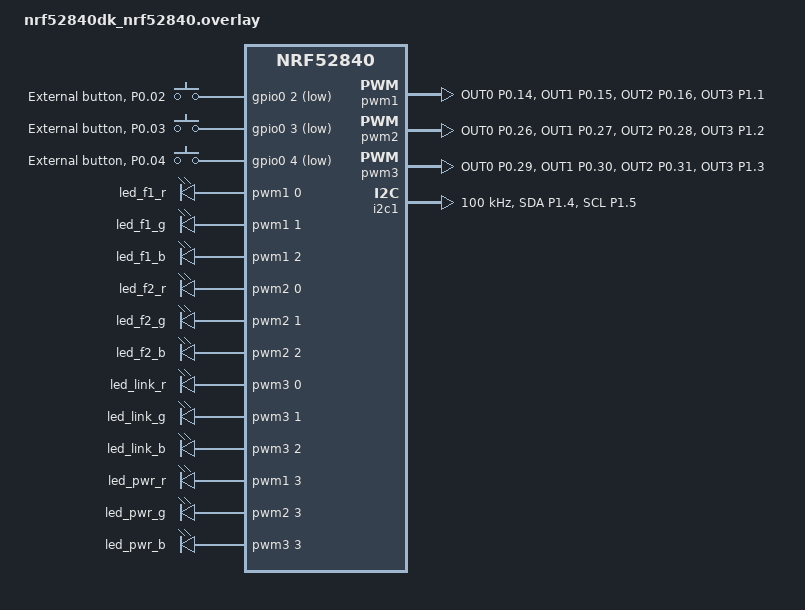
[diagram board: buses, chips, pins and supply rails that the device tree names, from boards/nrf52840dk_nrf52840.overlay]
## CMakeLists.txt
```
cmake_minimum_required(VERSION 3.20.0)
find_package(Zephyr REQUIRED HINTS $ENV{ZEPHYR_BASE})
project(remote)

# Same binding decision as dongle/CMakeLists.txt, same reasoning: identity is
# baked in at build time by dongle/tools/provision.py, no default to fall
# back to. PLAN.md §4, 2026-08-12.
if(NOT CONFIG_PROVISIONING_HEADER_DIR)
  message(FATAL_ERROR
    "CONFIG_PROVISIONING_HEADER_DIR not set. Generate one with dongle/tools/"
    "provision.py and pass -DCONFIG_PROVISIONING_HEADER_DIR=<dir containing "
    "provisioning_data.h>. See remote/BUILD_SPEC.md §9.")
endif()
if(NOT EXISTS "${CONFIG_PROVISIONING_HEADER_DIR}/provisioning_data.h")
  message(FATAL_ERROR "No provisioning_data.h in ${CONFIG_PROVISIONING_HEADER_DIR}")
endif()
target_include_directories(app PRIVATE ${CONFIG_PROVISIONING_HEADER_DIR})

target_sources(app PRIVATE
  src/main.c
  src/link.c
  src/buttons.c
  src/haptic.c
  src/indicators.c
  src/drv2605.c
  ../common/provisioning.c
  ../common/rframe.c
  ../common/ind_colour.c
)

# DRV2605L breadboard bring-up (bench-only) -- see remote/Kconfig.
target_sources_ifdef(CONFIG_REMOTE_DRV2605_CAL_TEST app PRIVATE src/drv2605_cal_test.c)

# remote/BUILD_SPEC.md §3: common/ is shared with the dongle by CMake source
# reference, not by copying — one codec, compiled into both firmwares and
# into the host suite.
target_include_directories(app PRIVATE ${CMAKE_CURRENT_SOURCE_DIR}/../common)

# ../common/rframe.h reuses protocol.h's button/gesture/remote/waveform/
# indicator enums as its own vocabulary (dongle/CMakeLists.txt does the same
# for the identical reason). protocol.c itself is never linked here — only
# the enum declarations are needed, never the WP v3.0 line assembler.
target_include_directories(app PRIVATE ${CMAKE_CURRENT_SOURCE_DIR}/../dongle/src)
```

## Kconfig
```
menu "Remote options"

config PROVISIONING_HEADER_DIR
	string "Directory containing this unit's generated provisioning_data.h"
	help
	  Generated by dongle/tools/provision.py — PLAN.md §4's binding
	  decision, 2026-08-12: identity is baked into the image at build
	  time, not read from a flash partition written by a separate step.
	  Same reasoning as dongle/Kconfig's identical option: this has to be
	  a Kconfig string, not a plain CMake -D variable, because west build
	  runs under sysbuild and only CONFIG_-prefixed values forward into
	  this image's cache automatically from a bare -D.

	  No default. CMakeLists.txt FATAL_ERRORs at configure time if this
	  is empty or the file isn't there.

config REMOTE_DRV2605_CAL_TEST
	bool "Run a DRV2605L auto-calibration smoke test at boot (bench only)"
	default n
	help
	  Breadboard bring-up for the DRV2605L haptic driver IC on i2c1 (P1.04
	  SDA / P1.05 SCL — remote/boards/nrf52840dk_nrf52840.overlay). Runs
	  drv2605_cal_test_run() before anything else in main(), independent
	  of provisioning/BLE — a bare hardware smoke test that exercises
	  drv2605.c's real driver (drv2605_calibrate()) without needing the
	  dongle, BLE, or the factory link protocol working first, and prints
	  the result and the three per-unit register values (A_CAL_COMP,
	  A_CAL_BEMF, the calibrated FEEDBACK_CONTROL byte) over RTT. Not
	  linked into an ordinary build; src/haptic.c's PWM back end is still
	  what the product path uses until a driver IC decision is made
	  (BUILD_SPEC.md §13).

config REMOTE_HAPTIC_PROXY_LED
	bool "Render haptics on pwm_led0 instead of the DRV2605L"
	default y
	help
	  y: haptic.c's original stand-in -- brightness on LED1/pwm_led0
	  proxies for amplitude, on a board with no motor at all
	  (BUILD_SPEC.md S13). n: render real library effects on the
	  DRV2605L via i2c1 (drv2605_play_sequence()) -- the actual product
	  haptic path. Defaults y so an ordinary DK build needs no module
	  wired up; set n once the DRV2605L breadboard bring-up
	  (CONFIG_REMOTE_DRV2605_CAL_TEST) has already proven the I2C link.

config REMOTE_SYNTHETIC_VDD_MV
	int "drv2605_read_vdd_mv() placeholder, millivolts (no PMIC on the DK)"
	default 3300
	help
	  There is no nPM1300 on the DK to read a real DRV2605L VDD/VIN
	  voltage from (PLAN.md S17/S18 is where a real fuel gauge arrives).
	  drv2605.c returns this fixed value instead — same convention as
	  link.c's SYNTHETIC_BATTERY_PCT: obviously synthetic rather than a
	  plausible, drifting one.

	  Deliberately defaults BELOW the DRV2605L's 4.0-4.4V OTP-programming
	  window, so drv2605_burn_otp() correctly refuses on every ordinary
	  DK build — there is no real battery here to safely burn OTP
	  against, and refusing is correct, not an inconvenience. Only raise
	  this into the 4.0-4.4V range for a deliberate, supervised bench
	  test of the OTP path itself, on a build nobody mistakes for
	  representative of a real unit's supply.

config REMOTE_TEST_RADIO_PROTO_MAJOR
	int "RR_IDENTITY radio_proto_major to report (bench test only)"
	default 2
	help
	  A14 (RADIO_PROTOCOL.md §14): radio_proto_major has no provisioning-
	  record representation — RP §3.2 fixes it at 2 for this revision
	  (bumped from 1 when DN_INDICATOR's colour field changed shape, RP
	  §16) — so there is no wrong-header way to build the A14 negative
	  case the way A12/A13/A19 are built. This is the one deliberate
	  exception: a bench-only override, defaulting to the real value so
	  an ordinary build is unaffected, set to anything else only for the
	  one negative-case build (PLAN.md queue step S2/S3).

endmenu

source "Kconfig.zephyr"
```

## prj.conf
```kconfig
# ---------------------------------------------------------------------------
# Application
# ---------------------------------------------------------------------------
CONFIG_GPIO=y
CONFIG_PWM=y
CONFIG_I2C=y
CONFIG_MAIN_STACK_SIZE=2048
CONFIG_SYSTEM_WORKQUEUE_STACK_SIZE=2048

# ---------------------------------------------------------------------------
# BLE — remote/BUILD_SPEC.md §5-§10. Peripheral, GATT server, one connection.
#
# No settings backend, same reasoning as the dongle: RP §10.3 stores nothing
# to erase, migrate or corrupt. The LTK comes from PROV_RECORD.set_key
# (provisioning_data.h, baked in at build time — PLAN.md §4, 2026-08-12)
# every boot via bt_nrf_conn_set_ltk(), never through Zephyr's bonding path.
# ---------------------------------------------------------------------------
CONFIG_BT=y
CONFIG_BT_PERIPHERAL=y
CONFIG_BT_SMP=y
CONFIG_BT_NRF_CONN_SET_LTK=y
CONFIG_BT_MAX_CONN=1
CONFIG_BT_MAX_PAIRED=1
CONFIG_BT_BONDABLE=n
CONFIG_BT_PRIVACY=n
CONFIG_BT_SETTINGS=n
CONFIG_BT_DEVICE_NAME="RefRemote"
CONFIG_BT_FILTER_ACCEPT_LIST=y
```

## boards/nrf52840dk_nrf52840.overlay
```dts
/*
 * The three buttons remote/BUILD_SPEC.md §2 always deferred to real GPIO
 * (originally REMOVE_POINT/BACKWARD/F2; the M5 harness reassigns which
 * physical button carries which PROTO_BTN_* — see buttons.c). Bench-wired
 * per PLAN.md S13/S14: P0.02/P0.03/P0.04, external momentary switch to GND,
 * relying on the SoC's internal pull — same GPIO_ACTIVE_LOW | GPIO_PULL_UP
 * convention the stock DK buttons already use, so there is nothing different
 * about these three at the devicetree level, only at the wiring level.
 *
 * A second, separate "gpio-keys" node rather than extending the board's own
 * /buttons: that node has no label to reference from an overlay, and
 * buttons.c reads these through DT_ALIAS() + GPIO_DT_SPEC_GET() directly, so
 * nothing requires the extra buttons to live in the same node as button0..3.
 */
#include <zephyr/dt-bindings/gpio/gpio.h>
#include <zephyr/dt-bindings/pinctrl/nrf-pinctrl.h>
#include <zephyr/dt-bindings/pwm/pwm.h>
#include <zephyr/dt-bindings/i2c/i2c.h>

/ {
	remote_ext_buttons: remote-ext-buttons {
		compatible = "gpio-keys";

		ext_button_0: ext_button_0 {
			gpios = <&gpio0 2 (GPIO_ACTIVE_LOW | GPIO_PULL_UP)>;
			label = "External button, P0.02";
		};

		ext_button_1: ext_button_1 {
			gpios = <&gpio0 3 (GPIO_ACTIVE_LOW | GPIO_PULL_UP)>;
			label = "External button, P0.03";
		};

		ext_button_2: ext_button_2 {
			gpios = <&gpio0 4 (GPIO_ACTIVE_LOW | GPIO_PULL_UP)>;
			label = "External button, P0.04";
		};
	};

	/*
	 * Real RGB indicators (PLAN.md S13/S14), replacing the mode-only mono
	 * LEDs indicators.c used since M2. Wiring throughout is common anode
	 * (bench-confirmed by diode test) — anode to VDD off-board, each
	 * cathode through its own series resistor to a GPIO the GPIO sinks —
	 * so every channel here needs the same active-low PWM setup Nordic's
	 * own board file already uses for pwm_led0 on P0.13: `nordic,invert`
	 * on the pinctrl group *and* PWM_POLARITY_INVERTED on the pwms cell.
	 * That combination is already proven on this exact board (haptic.c's
	 * proxy), so it is copied rather than re-derived.
	 *
	 * One indicator's three channels do not share a PWM instance — PWM1/2/3
	 * each carry one full RGB indicator on channels 0-2, with channel 3
	 * spare. LED_PWR's three channels are parked one to a spare channel
	 * on each instance instead of claiming a fourth PWM peripheral. Pin
	 * choice matches the reasoning already given: P0.14-16 free up because
	 * this replaces what they used to render; P0.26-31 were never claimed;
	 * P1.01-03 are the DK's near-radio-restricted bank (Nordic docs: PWM is
	 * not low-frequency I/O), parked on LED_PWR since it's not on the
	 * DN_INDICATOR colour-accuracy path being validated first.
	 */
	rgb_leds: rgb-leds {
		compatible = "pwm-leds";

		led_f1_r: led_f1_r { pwms = <&pwm1 0 PWM_MSEC(20) PWM_POLARITY_INVERTED>; };
		led_f1_g: led_f1_g { pwms = <&pwm1 1 PWM_MSEC(20) PWM_POLARITY_INVERTED>; };
		led_f1_b: led_f1_b { pwms = <&pwm1 2 PWM_MSEC(20) PWM_POLARITY_INVERTED>; };

		led_f2_r: led_f2_r { pwms = <&pwm2 0 PWM_MSEC(20) PWM_POLARITY_INVERTED>; };
		led_f2_g: led_f2_g { pwms = <&pwm2 1 PWM_MSEC(20) PWM_POLARITY_INVERTED>; };
		led_f2_b: led_f2_b { pwms = <&pwm2 2 PWM_MSEC(20) PWM_POLARITY_INVERTED>; };

		led_link_r: led_link_r { pwms = <&pwm3 0 PWM_MSEC(20) PWM_POLARITY_INVERTED>; };
		led_link_g: led_link_g { pwms = <&pwm3 1 PWM_MSEC(20) PWM_POLARITY_INVERTED>; };
		led_link_b: led_link_b { pwms = <&pwm3 2 PWM_MSEC(20) PWM_POLARITY_INVERTED>; };

		led_pwr_r: led_pwr_r { pwms = <&pwm1 3 PWM_MSEC(20) PWM_POLARITY_INVERTED>; };
		led_pwr_g: led_pwr_g { pwms = <&pwm2 3 PWM_MSEC(20) PWM_POLARITY_INVERTED>; };
		led_pwr_b: led_pwr_b { pwms = <&pwm3 3 PWM_MSEC(20) PWM_POLARITY_INVERTED>; };
	};

	aliases {
		sw4 = &ext_button_0;
		sw5 = &ext_button_1;
		sw6 = &ext_button_2;

		/* Swapped vs the led_f1_r/g/b and led_f2_r/g/b node names: F1's
		 * protocol colour now renders on the P0.26-28/pwm2 physical LED
		 * and F2's on P0.14-16/pwm1 — indicators.c and BUILD_SPEC.md's
		 * hardware map both go by these aliases, not the node names,
		 * so this is the one place the swap has to happen. */
		f1r = &led_f2_r;
		f1g = &led_f2_g;
		f1b = &led_f2_b;
		f2r = &led_f1_r;
		f2g = &led_f1_g;
		f2b = &led_f1_b;
		linkr = &led_link_r;
		linkg = &led_link_g;
		linkb = &led_link_b;
		pwrr = &led_pwr_r;
		pwrg = &led_pwr_g;
		pwrb = &led_pwr_b;
	};
};

&pinctrl {
	pwm1_default: pwm1_default {
		group1 {
			psels = <NRF_PSEL(PWM_OUT0, 0, 14)>,
				<NRF_PSEL(PWM_OUT1, 0, 15)>,
				<NRF_PSEL(PWM_OUT2, 0, 16)>,
				<NRF_PSEL(PWM_OUT3, 1, 1)>;
			nordic,invert;
		};
	};
	pwm1_sleep: pwm1_sleep {
		group1 {
			psels = <NRF_PSEL(PWM_OUT0, 0, 14)>,
				<NRF_PSEL(PWM_OUT1, 0, 15)>,
				<NRF_PSEL(PWM_OUT2, 0, 16)>,
				<NRF_PSEL(PWM_OUT3, 1, 1)>;
			low-power-enable;
		};
	};

	pwm2_default: pwm2_default {
		group1 {
			psels = <NRF_PSEL(PWM_OUT0, 0, 26)>,
				<NRF_PSEL(PWM_OUT1, 0, 27)>,
				<NRF_PSEL(PWM_OUT2, 0, 28)>,
				<NRF_PSEL(PWM_OUT3, 1, 2)>;
			nordic,invert;
		};
	};
	pwm2_sleep: pwm2_sleep {
		group1 {
			psels = <NRF_PSEL(PWM_OUT0, 0, 26)>,
				<NRF_PSEL(PWM_OUT1, 0, 27)>,
				<NRF_PSEL(PWM_OUT2, 0, 28)>,
				<NRF_PSEL(PWM_OUT3, 1, 2)>;
			low-power-enable;
		};
	};

	pwm3_default: pwm3_default {
		group1 {
			psels = <NRF_PSEL(PWM_OUT0, 0, 29)>,
				<NRF_PSEL(PWM_OUT1, 0, 30)>,
				<NRF_PSEL(PWM_OUT2, 0, 31)>,
				<NRF_PSEL(PWM_OUT3, 1, 3)>;
			nordic,invert;
		};
	};
	pwm3_sleep: pwm3_sleep {
		group1 {
			psels = <NRF_PSEL(PWM_OUT0, 0, 29)>,
				<NRF_PSEL(PWM_OUT1, 0, 30)>,
				<NRF_PSEL(PWM_OUT2, 0, 31)>,
				<NRF_PSEL(PWM_OUT3, 1, 3)>;
			low-power-enable;
		};
	};
};

&pwm1 {
	status = "okay";
	pinctrl-0 = <&pwm1_default>;
	pinctrl-1 = <&pwm1_sleep>;
	pinctrl-names = "default", "sleep";
};

&pwm2 {
	status = "okay";
	pinctrl-0 = <&pwm2_default>;
	pinctrl-1 = <&pwm2_sleep>;
	pinctrl-names = "default", "sleep";
};

&pwm3 {
	status = "okay";
	pinctrl-0 = <&pwm3_default>;
	pinctrl-1 = <&pwm3_sleep>;
	pinctrl-names = "default", "sleep";
};

/*
 * DRV2605L breadboard bring-up (PLAN.md haptic driver work). i2c1 shares
 * silicon with spi1/uart1 (both unused here) so claiming it is free. P1.04/
 * P1.05 rather than the board's own arduino_i2c (P0.26/P0.27, i2c0) because
 * those two pins already carry LED_F1's R/G channels (§2 of BUILD_SPEC.md) —
 * every P0 pin is spoken for, and P1.00-P1.09 is the only bank with anything
 * left (P1.01-P1.03 go to LED_PWR). Reusing the i2c1_default/i2c1_sleep
 * labels overrides the board file's own pins for that node rather than
 * defining a parallel one, matching how pwm1-3 above already work.
 */
&pinctrl {
	i2c1_default: i2c1_default {
		group1 {
			psels = <NRF_PSEL(TWIM_SDA, 1, 4)>,
				<NRF_PSEL(TWIM_SCL, 1, 5)>;
		};
	};
	i2c1_sleep: i2c1_sleep {
		group1 {
			psels = <NRF_PSEL(TWIM_SDA, 1, 4)>,
				<NRF_PSEL(TWIM_SCL, 1, 5)>;
			low-power-enable;
		};
	};
};

&i2c1 {
	status = "okay";
	pinctrl-0 = <&i2c1_default>;
	pinctrl-1 = <&i2c1_sleep>;
	pinctrl-names = "default", "sleep";
	clock-frequency = <I2C_BITRATE_STANDARD>;
};
```

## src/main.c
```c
/*
 * DK remote firmware — an nRF52840 DK standing in for a wrist remote that
 * does not exist yet. remote/BUILD_SPEC.md is the implementable contract;
 * RADIO_PROTOCOL.md is the wire contract it answers to.
 */
#include "provisioning_data.h" /* generated by dongle/tools/provision.py; see CMakeLists.txt */
#include "link.h"
#include "buttons.h"
#include "haptic.h"
#include "indicators.h"
#include "drv2605.h"

#ifdef CONFIG_REMOTE_DRV2605_CAL_TEST
#include "drv2605_cal_test.h"
#endif

#include <zephyr/kernel.h>
#include <zephyr/drivers/gpio.h>

#define REMOTE_STACK_SIZE 2048
#define REMOTE_PRIORITY   K_PRIO_COOP(7)

static struct k_work_q remote_q;
static K_THREAD_STACK_DEFINE(remote_stack, REMOTE_STACK_SIZE);

/*
 * A19: an unprovisioned unit does not advertise, does not initiate, and
 * renders an unmistakable fault. There is no radio link yet to report a
 * reason over, so this blinks all four LEDs together — no console, no CDC-
 * ACM instance to spare on this board either (remote/BUILD_SPEC.md §10: RTT
 * is free here, but that is for a human plugged into the debugger, not for
 * an operator glancing at hardware on a bench).
 */
static void fault_forever(void)
{
	static const struct gpio_dt_spec leds[] = {
		GPIO_DT_SPEC_GET(DT_ALIAS(led0), gpios),
		GPIO_DT_SPEC_GET(DT_ALIAS(led1), gpios),
		GPIO_DT_SPEC_GET(DT_ALIAS(led2), gpios),
		GPIO_DT_SPEC_GET(DT_ALIAS(led3), gpios),
	};

	for (size_t i = 0; i < ARRAY_SIZE(leds); i++) {
		if (gpio_is_ready_dt(&leds[i])) {
			(void)gpio_pin_configure_dt(&leds[i], GPIO_OUTPUT_INACTIVE);
		}
	}

	while (1) {
		for (size_t i = 0; i < ARRAY_SIZE(leds); i++) {
			(void)gpio_pin_set_dt(&leds[i], 1);
		}
		k_sleep(K_MSEC(200));
		for (size_t i = 0; i < ARRAY_SIZE(leds); i++) {
			(void)gpio_pin_set_dt(&leds[i], 0);
		}
		k_sleep(K_MSEC(200));
	}
}

int main(void)
{
#ifdef CONFIG_REMOTE_DRV2605_CAL_TEST
	/* Bench-only, independent of provisioning/BLE -- see remote/Kconfig.
	 * Runs once at boot and returns; the rest of main() is unaffected. */
	drv2605_cal_test_run();
#endif

	/* Boot-time sentinel, belt and braces alongside CMakeLists.txt's
	 * build-time refusal to configure without a provisioning_data.h at
	 * all — same reasoning as dongle/src/engine.c. */
	enum provisioning_status st = provisioning_validate(&PROV_RECORD);

	if (st != PROVISIONING_OK ||
	    (PROV_RECORD.role != PROVISIONING_ROLE_RED &&
	     PROV_RECORD.role != PROVISIONING_ROLE_GREEN)) {
		fault_forever();
		return 0; /* unreached */
	}

	k_work_queue_init(&remote_q);
	k_work_queue_start(&remote_q, remote_stack, K_THREAD_STACK_SIZEOF(remote_stack),
			   REMOTE_PRIORITY, NULL);

	/*
	 * Not fatal on failure -- haptic.c's PWM proxy is still the product
	 * haptic path (BUILD_SPEC.md §13); the DRV2605L only backs the
	 * factory calibration/OTP commands link.c dispatches
	 * (RFRAME_DN_CAL_TRIGGER/DN_OTP_BURN). A board with nothing wired
	 * to i2c1 just leaves those permanently unable to succeed --
	 * drv2605_otp_status() failing is already treated as "refuse" at
	 * the call site in link.c, the same fail-closed rule as everywhere
	 * else on this wire.
	 */
	(void)drv2605_init();

	if (haptic_init(&remote_q) != 0) {
		fault_forever();
		return 0;
	}
	if (indicators_init(&remote_q) != 0) {
		fault_forever();
		return 0;
	}
	if (link_init(&PROV_RECORD, &remote_q) != 0) {
		fault_forever();
		return 0;
	}
	if (buttons_init(link_on_gesture, &remote_q) != 0) {
		fault_forever();
		return 0;
	}

	return 0;
}
```

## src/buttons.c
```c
#include "buttons.h"

#include <zephyr/kernel.h>
#include <zephyr/drivers/gpio.h>

/* remote/BUILD_SPEC.md §4: fixed in firmware, not configurable anywhere. */
#define DEBOUNCE_MS      15
#define HOLD_THRESHOLD_MS 600
#define HOLD_REPEAT_MS   150

/* §2: gesture and semantic coverage, not button coverage. */
struct button_def {
	const struct gpio_dt_spec spec;
	enum proto_button button;
	bool repeating;   /* HOLD_REP only for FORWARD/BACKWARD */
};

/*
 * M5 GPIO harness (PLAN.md S13/S14): physical layout now mirrors the product
 * button map instead of DK button order — the built-in four sit where
 * FORWARD/BACKWARD/F1/F2 fall on the product remote, and the three bench-
 * wired buttons (nrf52840dk_nrf52840.overlay, sw4..sw6) take the centre
 * column. proto_button is what the reducer sees; which physical switch
 * produces it is entirely a wiring choice below.
 */
static const struct button_def defs[] = {
	{ GPIO_DT_SPEC_GET(DT_ALIAS(sw0), gpios), PROTO_BTN_BACKWARD,     true  },
	{ GPIO_DT_SPEC_GET(DT_ALIAS(sw1), gpios), PROTO_BTN_FORWARD,      true  },
	{ GPIO_DT_SPEC_GET(DT_ALIAS(sw2), gpios), PROTO_BTN_F2,           false },
	{ GPIO_DT_SPEC_GET(DT_ALIAS(sw3), gpios), PROTO_BTN_F1,           false },
	{ GPIO_DT_SPEC_GET(DT_ALIAS(sw4), gpios), PROTO_BTN_ADD_POINT,    false },
	{ GPIO_DT_SPEC_GET(DT_ALIAS(sw5), gpios), PROTO_BTN_TOGGLE_CLOCK, false },
	{ GPIO_DT_SPEC_GET(DT_ALIAS(sw6), gpios), PROTO_BTN_REMOVE_POINT, false },
};

#define BUTTON_COUNT (sizeof(defs) / sizeof(defs[0]))

enum btn_state {
	BTN_IDLE = 0,
	BTN_DEBOUNCE,
	BTN_DOWN,     /* debounced, waiting for release (PRESS) or threshold (HOLD) */
	BTN_HELD,     /* HOLD already fired; repeating buttons re-arm the timer */
};

struct button_runtime {
	enum btn_state state;
	struct gpio_callback gpio_cb;
	struct k_work_delayable timer;
	uint8_t index;
};

static struct button_runtime runtimes[BUTTON_COUNT];
static buttons_gesture_cb gesture_cb;
static struct k_work_q *buttons_workq;

static bool is_pressed(uint8_t i)
{
	return gpio_pin_get_dt(&defs[i].spec) > 0;
}

static void emit(uint8_t i, enum proto_gesture g)
{
	if (gesture_cb) {
		gesture_cb(defs[i].button, g);
	}
}

/*
 * One state machine per button, all timing driven by k_work_delayable on
 * buttons_workq rather than by raw GPIO ISR context — the same one-producer
 * discipline dongle/src/engine.c uses, now extended to a second event source.
 */
static void timer_handler(struct k_work *work)
{
	struct k_work_delayable *dwork = k_work_delayable_from_work(work);
	struct button_runtime *rt = CONTAINER_OF(dwork, struct button_runtime, timer);
	uint8_t i = rt->index;

	switch (rt->state) {
	case BTN_DEBOUNCE:
		if (!is_pressed(i)) {
			/* Bounced back up inside the debounce window. */
			rt->state = BTN_IDLE;
			return;
		}
		rt->state = BTN_DOWN;
		k_work_reschedule_for_queue(buttons_workq, &rt->timer,
					    K_MSEC(HOLD_THRESHOLD_MS - DEBOUNCE_MS));
		return;

	case BTN_DOWN:
		/* Threshold reached with the button still down: HOLD fires
		 * once, at the threshold — never on release (§4 detail 1). */
		emit(i, PROTO_GEST_HOLD);
		rt->state = BTN_HELD;
		if (defs[i].repeating) {
			k_work_reschedule_for_queue(buttons_workq, &rt->timer,
						    K_MSEC(HOLD_REPEAT_MS));
		}
		return;

	case BTN_HELD:
		/* Only reached for a repeating button still down. */
		emit(i, PROTO_GEST_HOLD_REP);
		k_work_reschedule_for_queue(buttons_workq, &rt->timer,
					    K_MSEC(HOLD_REPEAT_MS));
		return;

	case BTN_IDLE:
	default:
		return;
	}
}

static void edge_work_handler(struct k_work *work);

struct edge_work_item {
	struct k_work work;
	uint8_t index;
};

static struct edge_work_item edge_items[BUTTON_COUNT];

static void gpio_isr(const struct device *port, struct gpio_callback *cb, uint32_t pins)
{
	ARG_UNUSED(port);
	ARG_UNUSED(pins);

	struct button_runtime *rt = CONTAINER_OF(cb, struct button_runtime, gpio_cb);

	/* Marshal onto buttons_workq immediately; nothing below this point
	 * runs in interrupt context. */
	k_work_submit_to_queue(buttons_workq, &edge_items[rt->index].work);
}

static void edge_work_handler(struct k_work *work)
{
	struct edge_work_item *item = CONTAINER_OF(work, struct edge_work_item, work);
	uint8_t i = item->index;
	struct button_runtime *rt = &runtimes[i];
	bool pressed = is_pressed(i);

	switch (rt->state) {
	case BTN_IDLE:
		if (pressed) {
			rt->state = BTN_DEBOUNCE;
			k_work_reschedule_for_queue(buttons_workq, &rt->timer,
						    K_MSEC(DEBOUNCE_MS));
		}
		return;

	case BTN_DEBOUNCE:
		/* Handled by timer_handler's re-check; nothing to do here. */
		return;

	case BTN_DOWN:
		if (!pressed) {
			/* Released before the threshold: a genuine PRESS.
			 * §4 detail 2: a HOLD never also emits a PRESS, and
			 * this path is only reached when HOLD has not fired. */
			(void)k_work_cancel_delayable(&rt->timer);
			emit(i, PROTO_GEST_PRESS);
			rt->state = BTN_IDLE;
		}
		return;

	case BTN_HELD:
		if (!pressed) {
			(void)k_work_cancel_delayable(&rt->timer);
			rt->state = BTN_IDLE;
		}
		return;

	default:
		return;
	}
}

int buttons_init(buttons_gesture_cb cb, struct k_work_q *workq)
{
	gesture_cb = cb;
	buttons_workq = workq;

	for (uint8_t i = 0; i < BUTTON_COUNT; i++) {
		int err;

		if (!gpio_is_ready_dt(&defs[i].spec)) {
			return -ENODEV;
		}
		err = gpio_pin_configure_dt(&defs[i].spec, GPIO_INPUT);
		if (err) {
			return err;
		}
		err = gpio_pin_interrupt_configure_dt(&defs[i].spec, GPIO_INT_EDGE_BOTH);
		if (err) {
			return err;
		}

		runtimes[i].index = i;
		runtimes[i].state = BTN_IDLE;
		k_work_init_delayable(&runtimes[i].timer, timer_handler);
		gpio_init_callback(&runtimes[i].gpio_cb, gpio_isr, BIT(defs[i].spec.pin));
		err = gpio_add_callback(defs[i].spec.port, &runtimes[i].gpio_cb);
		if (err) {
			return err;
		}

		edge_items[i].index = i;
		k_work_init(&edge_items[i].work, edge_work_handler);
	}

	return 0;
}
```

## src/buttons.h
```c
/*
 * Debounce and gesture classification — remote/BUILD_SPEC.md §4. Runs
 * entirely locally: classification never depends on link state, so a
 * referee pressing a button on a dead link gets identical local behaviour;
 * only delivery fails (link.c's problem, not this file's).
 */
#ifndef REMOTE_BUTTONS_H_
#define REMOTE_BUTTONS_H_

#include "protocol.h"

struct k_work_q;

typedef void (*buttons_gesture_cb)(enum proto_button b, enum proto_gesture g);

/* Runs every callback on workq, the same discipline engine.c uses on the
 * dongle: one producer, no locking needed against link.c's own callbacks. */
int buttons_init(buttons_gesture_cb cb, struct k_work_q *workq);

#endif /* REMOTE_BUTTONS_H_ */
```

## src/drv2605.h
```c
/*
 * DRV2605L driver -- the real (non-bench) module. Owns the calibration and
 * OTP-burn sequences the factory link protocol (RADIO_PROTOCOL.md's factory
 * addendum, dispatched from link.c) drives, and library-effect playback,
 * haptic.c's DRV2605L back end (CONFIG_REMOTE_HAPTIC_PROXY_LED=n,
 * BUILD_SPEC.md §13). Register I/O only -- no waveform-table policy (which
 * effect means what, priority between waveforms) lives here; that is
 * haptic.c's job, same division as it always was with the PWM proxy.
 */
#ifndef REMOTE_DRV2605_H_
#define REMOTE_DRV2605_H_

#include <stdbool.h>
#include <stddef.h>
#include <stdint.h>

/*
 * Which physical actuator is on the output, and the register inputs that
 * follow from its datasheet. The DRV2605L drives an ERM and an LRA with
 * different equations, a different ROM library and a different loop, so
 * "which motor" is not one bit -- it is this whole struct, and every field
 * has to be written before auto-calibration for the result to mean
 * anything (datasheet S8.5.6 step 3).
 *
 * Fields the datasheet gives one recommended value for regardless of
 * actuator (FB_BRAKE_FACTOR, LOOP_GAIN, SAMPLE_TIME, BLANKING_TIME,
 * IDISS_TIME, ZC_DET_TIME, AUTO_CAL_TIME -- all "valid for most actuators"
 * in S8.5.6) are deliberately NOT fields: they are constants in drv2605.c,
 * and they stay constants until a bench measurement says one of these
 * motors needs its own value. A knob nothing has yet turned is a knob that
 * gets turned by accident.
 */
enum drv2605_actuator_kind {
	DRV2605_ERM,
	DRV2605_LRA,
};

struct drv2605_actuator {
	enum drv2605_actuator_kind kind;  /* FEEDBACK_CONTROL.N_ERM_LRA */
	uint8_t rated_voltage;            /* 0x16 -- Eq. 4 (ERM) or Eq. 5 (LRA) */
	uint8_t od_clamp;                 /* 0x17 -- Eq. 6 (ERM) or Eq. 9 (LRA) */
	uint8_t drive_time;               /* Control1[4:0]. LRA: half the resonant
					   * period, the auto-resonance engine's
					   * starting guess (S8.5.1.1). ERM: the
					   * back-EMF sample rate, and the reset
					   * default 0x13 is the right answer
					   * absent a reason */
	uint8_t library;                  /* 0x03 LIBRARY_SEL. 1-5 and 7 are the
					   * ERM libraries (Table 1, chosen by the
					   * motor's rated voltage and rise time),
					   * 6 is the LRA library. Never left
					   * implicit: the reset default is 1, so
					   * an LRA on an unwritten chip plays ERM
					   * waveforms and feels wrong for a reason
					   * no register dump shows */
	bool open_loop;                   /* Control3. The ERM libraries were
					   * designed for open-loop drive (S8.6.23)
					   * and ERM_OPEN_LOOP resets to 1 to match;
					   * the LRA library is closed-loop and
					   * LRA_OPEN_LOOP resets to 0. Written
					   * explicitly either way -- in open loop
					   * RATED_VOLTAGE is ignored and OD_CLAMP
					   * alone sets full scale, which changes
					   * what a calibration result even means */
};

/* The product's motor, the Vybronics VZ7AL2B1690002 ERM -- the targets
 * drv2605_calibrate() uses and drv2605_init() applies. Exposed so bench
 * firmware can start from the product's own numbers rather than a second
 * copy of them that drifts. */
extern const struct drv2605_actuator drv2605_actuator_erm_vz7al2b;

struct drv2605_cal_result {
	bool passed;              /* STATUS.DIAG_RESULT == 0 */
	uint8_t status;            /* raw STATUS register (0x00), for diagnostics */
	uint8_t a_cal_comp;         /* 0x18 */
	uint8_t a_cal_bemf;         /* 0x19 */
	uint8_t feedback_control;   /* 0x1A, post-calibration */
	int go_reads_ok;            /* successful I2C reads of GO while waiting for
				      * it to clear -- 0 with a nonzero return code
				      * means the I2C bus itself was failing, not
				      * the calibration engine; only meaningful
				      * when this call returned an error */
};

enum drv2605_otp_result {
	DRV2605_OTP_BURNED,             /* programmed and verified */
	DRV2605_OTP_ALREADY_PROGRAMMED, /* refused: OTP_STATUS was already 1 */
	DRV2605_OTP_VDD_OUT_OF_RANGE,   /* refused: live VDD not 4.0-4.4V */
	DRV2605_OTP_I2C_ERROR,          /* a register access failed */
	DRV2605_OTP_VERIFY_FAILED,      /* readback after reset didn't match */
};

int drv2605_init(void);

/* Reads the chip's own OTP_STATUS bit (Control4, 0x1E) -- a hardware fact,
 * not firmware state. link.c gates every factory command on this reading
 * false: once true, it stays true for the physical chip's life regardless
 * of what this board's own flash remembers. */
int drv2605_otp_status(bool *out_programmed);

/*
 * Forces a DEV_RESET (MODE bit 7, S8.4.1.5) -- "the equivalent of power
 * cycling the device", entirely over I2C, every register back to its
 * power-on default. Leaves the chip in ready/internal-trigger mode but,
 * unlike drv2605_init(), does NOT re-apply an actuator configuration -- a
 * reset that quietly put the settings back would not be a reset. Whatever
 * calls this owns following it with drv2605_apply_actuator().
 * Not part of the ordinary product path (nothing in link.c
 * calls this); it exists for bench use where an actual power cycle can't be
 * trusted to have really happened -- e.g. a bulk capacitor on VIN holding
 * the supply up well after the source was toggled off.
 */
int drv2605_dev_reset(void);

/*
 * Writes RATED_VOLTAGE (0x16) and OD_CLAMP (0x17) from the Vybronics
 * VZ7AL2B1690002 motor's own datasheet (drv2605.c's RATED_VOLTAGE_TARGET/
 * OD_CLAMP_TARGET, with the derivation and its safety margin in a comment
 * there), then runs auto-calibration and reports the three bytes that vary
 * per physical unit. out->passed reflects DIAG_RESULT only -- calibration
 * can pass against a wiring fault that happens to look electrically sane,
 * so a felt/bench check still matters, not just this return value.
 */
int drv2605_calibrate(struct drv2605_cal_result *out);

/*
 * Writes every auto-calibration input for `act` -- kind, library, loop mode,
 * drive time, rated voltage, overdrive clamp, and the fixed S8.5.6
 * recommendations -- without running calibration. Enough on its own to play
 * library effects on a given actuator, uncalibrated. drv2605_init() applies
 * the product ERM through this; the bench firmware applies whichever motor
 * is on the bench.
 *
 * MODE is not touched: the chip stays in whatever interface mode the caller
 * left it in (drv2605_init() and drv2605_dev_reset() both leave it in
 * ready/internal-trigger).
 */
int drv2605_apply_actuator(const struct drv2605_actuator *act);

/*
 * drv2605_apply_actuator() followed by the auto-calibration run of
 * drv2605_calibrate(). Bench entry point: the product path knows exactly
 * one actuator and calls drv2605_calibrate(); this one takes the actuator
 * as an argument because the whole point of the evaluation firmware is that
 * the answer isn't decided yet.
 *
 * The calibration result is only meaningful for the actuator it ran
 * against. Switching actuators and NOT re-running this leaves A_CAL_COMP/
 * A_CAL_BEMF describing the previous motor -- which is not an error the
 * chip reports, just a wrong feel, so the bench UI is responsible for
 * making the staleness visible.
 */
int drv2605_calibrate_actuator(const struct drv2605_actuator *act,
			       struct drv2605_cal_result *out);

/*
 * Clears GO (0x0C), ending playback early. The ROM library's effect 118
 * ("Long buzz for programmatic stopping") exists to be run against this:
 * it is the only way to hold the actuator at steady drive long enough to
 * read VBAT (0x21) or LRA_PERIOD (0x22), both of which the datasheet says
 * only read valid "while the device is actively sending a waveform".
 */
int drv2605_stop(void);

/* Raw register read, bench diagnostics only -- lets the eval firmware dump
 * chip state after a failure instead of inferring it. Not a product API. */
int drv2605_read_reg(uint8_t reg, uint8_t *out_val);

/*
 * Runs the DRV2605L's standalone actuator diagnostic (MODE=6, datasheet
 * S8.6.2/S8.3.2.6) instead of the full auto-calibration routine -- a
 * narrower open/short/back-EMF sanity check with no RATED_VOLTAGE/OD_CLAMP/
 * timing inputs to populate first. Useful to isolate "is the actuator
 * electrically sane at all" from "did the auto-cal convergence search
 * succeed", since the two can fail for different reasons and DIAG_RESULT
 * alone doesn't say which routine produced it.
 */
int drv2605_diagnose(bool *out_actuator_ok, uint8_t *out_status, int *out_go_reads_ok);

/*
 * Plays up to 7 library effect indices (TI's ROM waveform library,
 * datasheets/drv2605l.pdf S12.1.2) in sequence via internal-trigger mode --
 * the actual product haptic path, not the calibration/OTP one above.
 * `count` == 1 is a single effect. Retriggering while something is already
 * playing interrupts and restarts it, which is RADIO_PROTOCOL.md S8's "a
 * frame arriving mid-render wins and restarts the motor" rule -- this
 * function does not decide *whether* to interrupt (haptic.c's BEAT-vs-TAP
 * priority check happens before this is called), only how to render once
 * that decision is made.
 */
int drv2605_play_sequence(const uint8_t *effects, size_t count);

/*
 * Burns the DRV2605L's one-time-programmable memory (registers 0x16-0x1A)
 * with whatever is currently in them -- normally the result of a prior
 * drv2605_calibrate(). Irreversible per physical chip. Refuses if OTP is
 * already programmed or if live VDD is outside the 4.0-4.4V window the
 * datasheet requires for the write to take (drv2605_read_vdd_mv()) --
 * both checks happen here, not just in the caller, so a caller mistake
 * can't burn OTP under unsafe conditions.
 */
enum drv2605_otp_result drv2605_burn_otp(void);

/*
 * Millivolts on the DRV2605L's own VDD/VIN net -- on the product PCB, the
 * nPM1300's fuel-gauge reading (PLAN.md S17/S18); on the DK, there is no
 * battery to read, and this returns CONFIG_REMOTE_SYNTHETIC_VDD_MV, a
 * fixed, obviously-synthetic placeholder -- same convention as link.c's
 * SYNTHETIC_BATTERY_PCT. It defaults below the 4.0V OTP floor deliberately:
 * the DK has no real battery to safely burn OTP against, and refusing is
 * the correct behaviour there, not an inconvenience to work around.
 */
int drv2605_read_vdd_mv(uint16_t *out_mv);

#endif /* REMOTE_DRV2605_H_ */
```

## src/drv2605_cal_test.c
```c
/*
 * DRV2605L breadboard bring-up (bench-only, CONFIG_REMOTE_DRV2605_CAL_TEST).
 *
 * A bare hardware smoke test for the i2c1/P1.04-P1.05 wiring
 * (nrf52840dk_nrf52840.overlay) that exercises drv2605.c's real driver
 * directly, without needing the dongle, BLE, or the factory link protocol
 * (link.c's DN_CAL_TRIGGER/DN_OTP_BURN handling) working first. Register
 * logic lives in drv2605.c now; this file only calls it and prints the
 * result over RTT.
 */
#include "drv2605_cal_test.h"
#include "drv2605.h"

#include <zephyr/sys/printk.h>

void drv2605_cal_test_run(void)
{
	struct drv2605_cal_result cal;
	int rc;

	rc = drv2605_init();
	if (rc != 0) {
		printk("[drv2605] init failed (%d) -- check VIN, GND, SDA/SCL "
		       "wiring and the 0x5A address\n", rc);
		return;
	}
	printk("[drv2605] I2C link OK.\n");
	printk("[drv2605] Calibrating against the Vybronics VZ7AL2B1690002's own "
	       "rated/operating voltage (drv2605.c's RATED_VOLTAGE_TARGET/"
	       "OD_CLAMP_TARGET) -- on the DK's 3.3V VIN, the 3.6V overdrive "
	       "ceiling is supply-limited, not a bug.\n");

	rc = drv2605_calibrate(&cal);
	if (rc != 0) {
		printk("[drv2605] calibration failed (%d)\n", rc);
		return;
	}

	printk("[drv2605] calibration %s (STATUS=0x%02x)\n",
	       cal.passed ? "passed" : "FAILED -- check motor wiring/OD_CLAMP",
	       cal.status);
	printk("[drv2605] A_CAL_COMP=0x%02x A_CAL_BEMF=0x%02x FEEDBACK_CONTROL=0x%02x "
	       "-- the three values a per-unit calibration record would store\n",
	       cal.a_cal_comp, cal.a_cal_bemf, cal.feedback_control);
}
```

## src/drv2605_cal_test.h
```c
/*
 * DRV2605L breadboard bring-up (bench-only, CONFIG_REMOTE_DRV2605_CAL_TEST).
 * Not part of the product haptic path — see drv2605_cal_test.c.
 */
#ifndef DRV2605_CAL_TEST_H
#define DRV2605_CAL_TEST_H

/* Runs the auto-calibration sequence once and logs the result over RTT.
 * Blocking; safe to call before the rest of the app initialises. */
void drv2605_cal_test_run(void);

#endif
```

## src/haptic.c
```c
#include "haptic.h"

#include <zephyr/kernel.h>
#include <zephyr/sys/util.h>

/* PROTO_WF_COUNT as a sentinel: "nothing currently rendering". Shared by
 * both backends below -- the BEAT-vs-TAP priority rule (RP §8.1: "A BEAT
 * arriving while a TAP renders is dropped; the TAP is never truncated")
 * is app-level policy, identical regardless of what actually renders it. */
static enum proto_waveform active = PROTO_WF_COUNT;
static uint8_t haptic_scale = 100;
static struct k_work_q *haptic_workq;

#ifdef CONFIG_REMOTE_HAPTIC_PROXY_LED

#include <zephyr/drivers/pwm.h>

/* §2: the haptic proxy drives pwm_led0 (LED 1 / P0.13) only. led0's plain
 * gpio-leds node is deliberately unused — driving the same physical pin from
 * both drivers at once is a conflict that does not announce itself. */
static const struct pwm_dt_spec pwm = PWM_DT_SPEC_GET(DT_ALIAS(pwm_led0));

/*
 * Base amplitudes and timing. RP §9/remote/BUILD_SPEC.md §7.3 pin only the
 * *character* of each waveform ("single short tap", "two pulses", ...) and
 * the one hard numeric requirement — BEAT distinctly weaker than TAP — not
 * exact millisecond values, so the pulse/gap durations below are an
 * implementation choice, pinned here rather than left implicit. Amplitude is
 * a base duty percentage, scaled by haptic_set_scale() at render time so the
 * BEAT:TAP ratio survives DN_CONFIG unchanged.
 */
struct pulse_shape {
	uint8_t base_duty_pct;
	uint16_t pulse_ms;
	uint16_t gap_ms;
	uint8_t pulse_count;
};

static const struct pulse_shape shapes[PROTO_WF_COUNT] = {
	[PROTO_WF_TAP]    = { 100, 40,  0,  1 },
	[PROTO_WF_BEAT]   = { 25,  40,  0,  1 }, /* distinctly weaker than TAP */
	[PROTO_WF_WARN]   = { 100, 150, 0,  1 },
	[PROTO_WF_BUZZ]   = { 100, 80,  0,  1 },
	[PROTO_WF_LONG]   = { 100, 400, 0,  1 },
	[PROTO_WF_DOUBLE] = { 100, 40,  60, 2 },
	[PROTO_WF_TRIPLE] = { 100, 40,  60, 3 },
};

static uint8_t pulses_left;
static bool in_gap;
static struct k_work_delayable phase_work;

static void pwm_off(void)
{
	(void)pwm_set_pulse_dt(&pwm, 0);
}

static void start_pulse(void)
{
	const struct pulse_shape *s = &shapes[active];
	uint32_t duty = ((uint32_t)s->base_duty_pct * haptic_scale) / 100u;
	uint32_t pulse_ns = (uint32_t)(((uint64_t)pwm.period * duty) / 100u);

	(void)pwm_set_pulse_dt(&pwm, pulse_ns);
	in_gap = false;
	k_work_reschedule_for_queue(haptic_workq, &phase_work, K_MSEC(s->pulse_ms));
}

static void phase_handler(struct k_work *work)
{
	ARG_UNUSED(work);

	const struct pulse_shape *s = &shapes[active];

	if (!in_gap) {
		pwm_off();
		pulses_left--;
		if (pulses_left == 0) {
			active = PROTO_WF_COUNT;
			return;
		}
		in_gap = true;
		k_work_reschedule_for_queue(haptic_workq, &phase_work, K_MSEC(s->gap_ms));
		return;
	}

	start_pulse();
}

void haptic_render(enum proto_waveform w, uint8_t ttl_4ms)
{
	ARG_UNUSED(ttl_4ms); /* see haptic.h: not enforced here, by design */

	if (w >= PROTO_WF_COUNT) {
		return;
	}

	/* A10: a BEAT arriving while a TAP renders is dropped; the TAP is
	 * never interrupted or truncated. Every other case — including a TAP
	 * arriving mid-BEAT — wins and restarts (RP §8.1). */
	if (active == PROTO_WF_TAP && w == PROTO_WF_BEAT) {
		return;
	}

	(void)k_work_cancel_delayable(&phase_work);
	active = w;
	pulses_left = shapes[w].pulse_count;
	in_gap = false;
	start_pulse();
}

void haptic_set_scale(uint8_t scale)
{
	haptic_scale = scale > 100u ? 100u : scale;
}

int haptic_init(struct k_work_q *workq)
{
	haptic_workq = workq;

	if (!pwm_is_ready_dt(&pwm)) {
		return -ENODEV;
	}
	k_work_init_delayable(&phase_work, phase_handler);
	pwm_off();
	return 0;
}

#else /* !CONFIG_REMOTE_HAPTIC_PROXY_LED -- real DRV2605L library playback */

#include "drv2605.h"

/*
 * Waveform -> ROM library effect index (datasheets/drv2605l.pdf §12.1.2,
 * TS2200 library). A starting point to bench-verify by feel, not a final
 * assignment — see PLAN.md's entry on this change for the full reasoning.
 * BEAT is deliberately the *same click family as TAP, at a fixed weaker
 * strength* (effect 6 vs effect 5, "Sharp Click" at 30% vs 60%) rather
 * than an unrelated effect: BUILD_SPEC.md §7.3 requires BEAT to be
 * "distinctly weaker... not different in principle, different in
 * sensation", which picking two strength variants of one effect satisfies
 * by construction, the same way the PWM proxy's shared base_duty_pct did.
 */
static const uint8_t effect_single[PROTO_WF_COUNT] = {
	[PROTO_WF_TAP]    = 5,  /* Sharp Click - 60% */
	[PROTO_WF_BEAT]   = 6,  /* Sharp Click - 30% */
	[PROTO_WF_WARN]   = 7,  /* Soft Bump - 100% -- different character than Click, unmistakable */
	[PROTO_WF_BUZZ]   = 47, /* Buzz 1 - 100% */
	[PROTO_WF_LONG]   = 14, /* Strong Buzz - 100% */
	[PROTO_WF_DOUBLE] = 10, /* Double Click - 100%, correct spacing built in */
	[PROTO_WF_TRIPLE] = 0,  /* not used -- see triple_seq below */
};

/* No dedicated "triple" entry found in the library list, so TRIPLE chains
 * the same click three times via WAV_FRM_SEQ (drv2605_play_sequence()) --
 * the hardware feature DOUBLE could also use, just not needed there since
 * effect 10 already encodes correct double-click spacing. */
static const uint8_t triple_seq[3] = { 1, 1, 1 };

/*
 * Estimated render duration per waveform, ms — for priority-window
 * bookkeeping only (deciding whether a BEAT arrives "while a TAP renders"),
 * not for driving the motor: the DRV2605L renders each effect's timing
 * itself once triggered. Estimates, not measured — bench-verify and
 * shorten/lengthen once the real effects are felt.
 */
static const uint16_t est_duration_ms[PROTO_WF_COUNT] = {
	[PROTO_WF_TAP]    = 100,
	[PROTO_WF_BEAT]   = 100,
	[PROTO_WF_WARN]   = 300,
	[PROTO_WF_BUZZ]   = 150,
	[PROTO_WF_LONG]   = 600,
	[PROTO_WF_DOUBLE] = 300,
	[PROTO_WF_TRIPLE] = 450,
};

static struct k_work_delayable active_timeout_work;

static void active_timeout_handler(struct k_work *work)
{
	ARG_UNUSED(work);
	active = PROTO_WF_COUNT;
}

void haptic_render(enum proto_waveform w, uint8_t ttl_4ms)
{
	ARG_UNUSED(ttl_4ms); /* see haptic.h: not enforced here, by design */

	if (w >= PROTO_WF_COUNT) {
		return;
	}

	/* Same rule, same reasoning as the PWM backend above — RP §8.1. */
	if (active == PROTO_WF_TAP && w == PROTO_WF_BEAT) {
		return;
	}

	(void)k_work_cancel_delayable(&active_timeout_work);
	active = w;

	/*
	 * No explicit stop before playing: retriggering GO (inside
	 * drv2605_play_sequence()) while something is still rendering
	 * interrupts and restarts it, which is exactly "a frame arriving
	 * mid-render wins and restarts the motor" (RP §8.1) — the DRV2605L
	 * already does the thing this rule asks for.
	 */
	if (w == PROTO_WF_TRIPLE) {
		(void)drv2605_play_sequence(triple_seq, ARRAY_SIZE(triple_seq));
	} else {
		uint8_t one = effect_single[w];

		(void)drv2605_play_sequence(&one, 1);
	}

	k_work_reschedule_for_queue(haptic_workq, &active_timeout_work,
				    K_MSEC(est_duration_ms[w]));
}

void haptic_set_scale(uint8_t scale)
{
	haptic_scale = scale > 100u ? 100u : scale;

	/*
	 * NOT YET APPLIED. The obvious mechanism -- scale OD_CLAMP at
	 * runtime -- is wrong here, not just unimplemented: OD_CLAMP is a
	 * calibration INPUT (drv2605.c's OD_CLAMP_TARGET), and the datasheet
	 * is explicit that changing it invalidates A_CAL_BEMF until
	 * calibration reruns. Rewriting it on every DN_CONFIG would silently
	 * run a match on stale BEMF calibration. Real amplitude control for
	 * library effects needs a per-tier effect selection (the same
	 * "different index, not a scaled shared parameter" approach already
	 * used for BEAT vs TAP above), which needs the felt bench pass this
	 * whole waveform table is waiting on. Tracked, not silently dropped.
	 */
}

int haptic_init(struct k_work_q *workq)
{
	/* drv2605_init() already ran in main.c, before this — nothing to
	 * open here. */
	haptic_workq = workq;
	k_work_init_delayable(&active_timeout_work, active_timeout_handler);
	return 0;
}

#endif /* CONFIG_REMOTE_HAPTIC_PROXY_LED */
```

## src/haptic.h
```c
/*
 * Waveform table, ttl check, rendering — remote/BUILD_SPEC.md §7.3. Two
 * back ends behind CONFIG_REMOTE_HAPTIC_PROXY_LED: the original PWM/LED1
 * proxy (y, brightness stands in for amplitude on a board with no motor),
 * and real DRV2605L library-effect playback (n, §13's intended product
 * path). The waveform TABLE — which waveform is a distinct sensation, and
 * that BEAT is distinctly weaker than TAP — is what both back ends
 * implement identically in their own terms; only the rendering mechanism
 * differs.
 */
#ifndef REMOTE_HAPTIC_H_
#define REMOTE_HAPTIC_H_

#include "protocol.h"

#include <stdint.h>

struct k_work_q;

/* Renders on workq — the same queue buttons.c and link.c use, so a GATT
 * write callback arriving on the BT RX thread and a button edge never touch
 * haptic.c's render state from two different contexts at once. */
int haptic_init(struct k_work_q *workq);

/*
 * The remote renders; it decides nothing (RP §8.1). ttl_4ms is accepted for
 * completeness but not enforced as a deadline: remote/BUILD_SPEC.md §7.3
 * explicitly permits this — "where the determination cannot be made
 * confidently, render" — and this board has no reliable way to measure how
 * long a Write Without Response sat queued before delivery. The guarantee
 * that matters rests on the dongle's mechanism 1 (engine.c), which refuses
 * to hand over a frame whose budget is already spent; this is a completeness
 * note, not a silently-skipped requirement.
 */
void haptic_render(enum proto_waveform w, uint8_t ttl_4ms);

/* DN_CONFIG's haptic_scale, 0-100. Must preserve the BEAT:TAP ratio (RP
 * §7.3) — implemented by scaling every waveform's table amplitude by the
 * same factor rather than by a single shared parameter. */
void haptic_set_scale(uint8_t haptic_scale);

#endif /* REMOTE_HAPTIC_H_ */
```

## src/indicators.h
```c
/*
 * LED_F1, LED_F2, LED_LINK, LED_PWR — remote/BUILD_SPEC.md §7.1, §7.2, FS
 * §10. Real RGB via PWM as of the M5 GPIO harness (PLAN.md S13/S14) — the
 * DN_INDICATOR colour fields are now actually rendered, not just stored.
 *
 * LED_PWR renders FS §10.1's 3-band colour ladder from whatever
 * indicators_set_battery_pct() was last told, driven by DN_SIMSOC
 * (RADIO_PROTOCOL.md §7.5) rather than a real fuel-gauge reading — this
 * board has no battery yet. DN_SIMSOC never touches UP_TELEMETRY
 * (link.c's SYNTHETIC_BATTERY_PCT stays exactly what it was, a fixed
 * placeholder for the app's own battery display), so the two synthetic
 * values can't be confused for each other: one feeds a real wire path
 * for testing this indicator, the other is a hardcoded constant nothing
 * downstream should trust. Real content arrives with the nPM1300-EK
 * (PLAN.md S17/S18).
 */
#ifndef REMOTE_INDICATORS_H_
#define REMOTE_INDICATORS_H_

#include "protocol.h"

#include <stdbool.h>
#include <stdint.h>

struct k_work_q;

/* workq: same one buttons.c, haptic.c and link.c use — the link-lost double
 * buzz below is timer-driven and calls into haptic_render(), so it must run
 * on the queue haptic.c expects callers from. */
int indicators_init(struct k_work_q *workq);

/* DN_INDICATOR: complete app-owned state, asserted whole (§7.1). Applying an
 * identical frame must change nothing and re-trigger nothing (A11) — true
 * here because every PWM pulse write is idempotent, not because of any
 * explicit comparison against the previous frame.
 *
 * Colour is one of the fixed PROTO_COLOUR_* palette (protocol.h), never an
 * RGB triple — the app picks which of red/green/blue/yellow, this board
 * decides what that looks like in PWM duty (common/ind_colour.c), same as
 * LED_LINK and LED_PWR already do. */
void indicators_set(enum proto_ind_mode f1_mode, enum proto_ind_colour f1_colour,
		    enum proto_ind_mode f2_mode, enum proto_ind_colour f2_colour);

/* DN_CONFIG's led_brightness (0-100), applied multiplicatively to whatever
 * colour is currently set on every rendered indicator — real PWM levels now
 * that real RGB hardware exists, per the comment this replaces. */
void indicators_set_brightness(uint8_t led_brightness);

/*
 * LED_LINK is a conjunction the remote computes, never a value it is told
 * directly (§7.2): radio_up is what this board's own BLE connection state
 * says; host_up is DN_HOST, the half of the path the remote cannot see for
 * itself. On boot both default to false (A16) — link-lost until proven
 * otherwise, never "connected" pending contact. Colour is fixed by FS §10.2
 * (blue solid when up), not carried on the wire.
 */
void indicators_set_radio_up(bool up);
void indicators_set_host_up(bool up);

/* DN_SIMSOC (RADIO_PROTOCOL.md §7.5): bench-only. Not real telemetry — see
 * the header comment. Renders FS §10.1's 3-band ladder on LED_PWR. */
void indicators_set_battery_pct(uint8_t pct);

#endif /* REMOTE_INDICATORS_H_ */
```

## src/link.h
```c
/*
 * BLE peripheral, advertising, the RefRemote Link Service, uplink CTR —
 * remote/BUILD_SPEC.md §5-§8. The GATT server side of the connection
 * lifecycle dongle/BUILD_SPEC.md §7.1 specifies from the central's end.
 */
#ifndef REMOTE_LINK_H_
#define REMOTE_LINK_H_

#include "protocol.h"
#include "provisioning.h"

struct k_work_q;

/* prov must already be validated (role RED or GREEN, CRC good) — main.c does
 * not call this at all on a failed prov_flash_load(), per A19. */
int link_init(const struct provisioning_record *prov, struct k_work_q *workq);

/* From buttons.c. CTR advances for every classified press, including ones
 * that cannot be delivered (remote/BUILD_SPEC.md §6.2) — link_on_gesture()
 * assigns and advances CTR regardless of connection state. */
void link_on_gesture(enum proto_button b, enum proto_gesture g);

#endif /* REMOTE_LINK_H_ */
```
